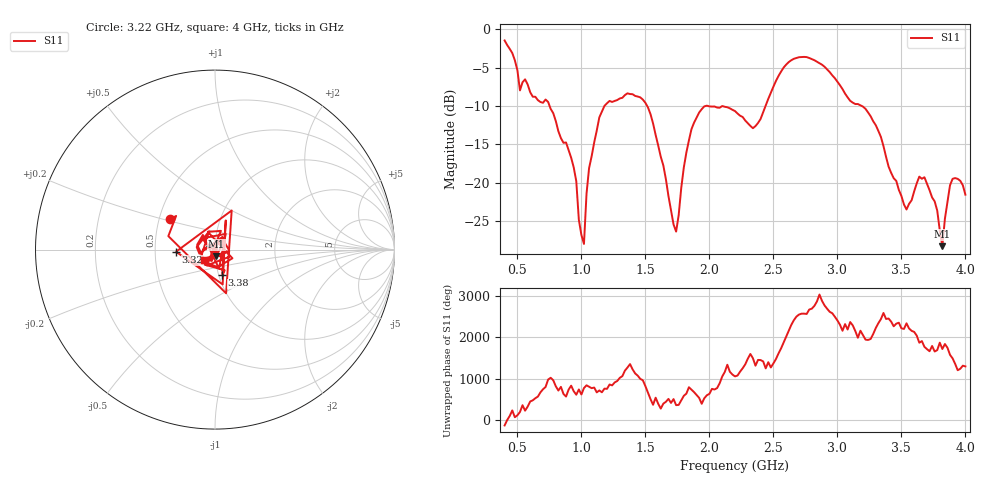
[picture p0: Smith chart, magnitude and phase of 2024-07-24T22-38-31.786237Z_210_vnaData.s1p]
!Created with skrf (http://scikit-rf.org).
# Hz S RI R 50.0
!freq ReS11 ImS11
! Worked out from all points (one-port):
!   181 points, 400 MHz to 4 GHz, reference 50 ohm
!   lowest |S11| = -28.2 dB at 3.82 GHz (marker M1), VSWR 1.08, Z = 50.6 - j3.85 ohm
!   |S11| at or under -10 dB: 1.514 GHz to 1.973 GHz (458.9 MHz wide, 26.3 % of centre); 1.987 GHz to 2.439 GHz (452.1 MHz wide, 20.4 % of centre); 3.19 GHz to end of sweep (the widest 3 of 4)
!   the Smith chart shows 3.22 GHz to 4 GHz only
!   S11 on the Smith chart (normalised r, x): 3.22 GHz: 0.57, +0.21; 3.32 GHz: 0.64, -0.02; 3.38 GHz: 1.04, -0.30; 4 GHz: 0.88, -0.10
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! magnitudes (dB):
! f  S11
! 400 MHz  -1.5
! 520 MHz  -8.0
! 740 MHz  -9.5
! 860 MHz  -14.8
! 940 MHz  -18.0
! 1.02 GHz  -28.0
! 1.06 GHz  -18.1
! 1.14 GHz  -11.5
! 1.3 GHz  -9.0
! 1.52 GHz  -10.2
! 1.72 GHz  -25.4
! 1.76 GHz  -24.2
! 1.82 GHz  -16.1
! 1.92 GHz  -10.9
! 2.2 GHz  -10.7
! 2.36 GHz  -12.6
! 2.66 GHz  -3.9
! 2.88 GHz  -4.6
! 3.1 GHz  -9.3
! 3.22 GHz  -10.4
! 3.32 GHz  -13.3
! 3.38 GHz  -16.6
! 3.56 GHz  -22.7
! 3.68 GHz  -19.3
! 3.78 GHz  -23.6
! 3.82 GHz  -28.2
! 3.9 GHz  -19.5
! 4 GHz  -21.5
